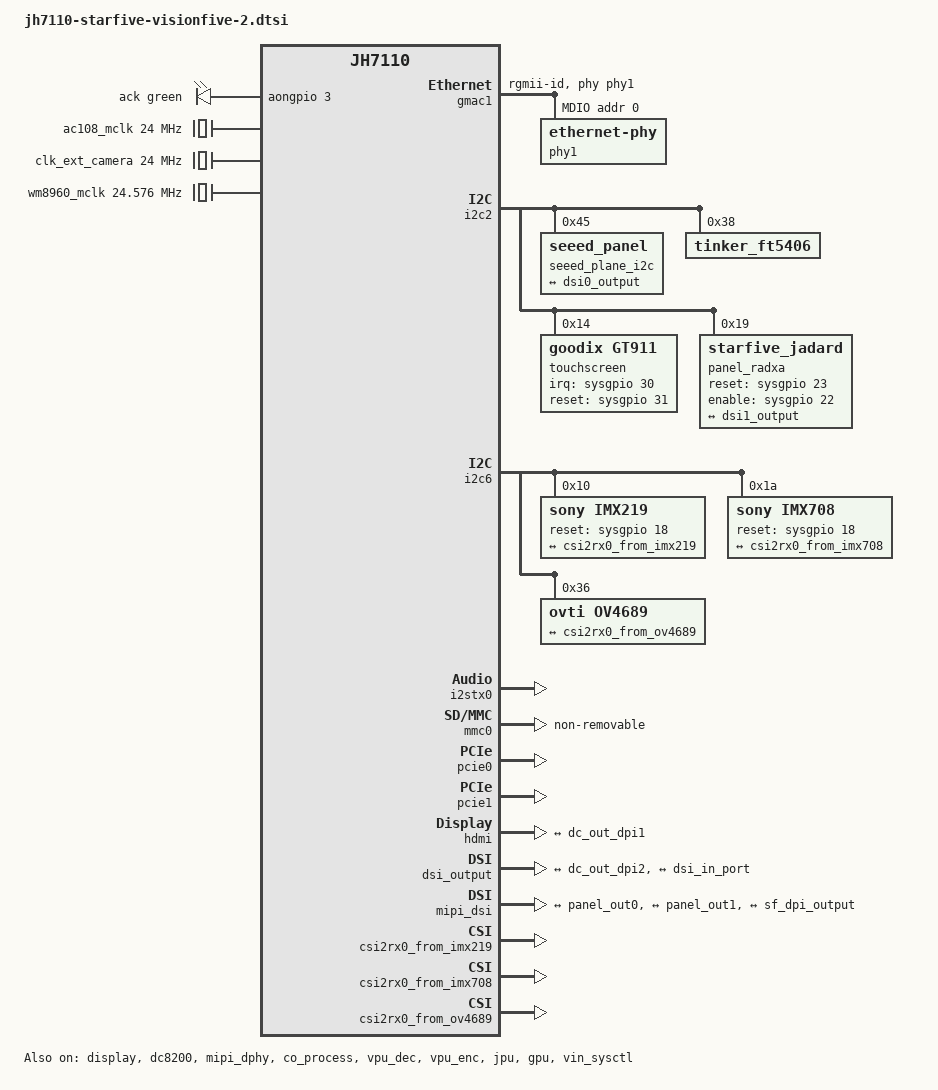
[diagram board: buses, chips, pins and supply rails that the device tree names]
// SPDX-License-Identifier: GPL-2.0 OR MIT
/*
 * Copyright (C) 2022 StarFive Technology Co., Ltd.
 * Copyright (C) 2022 Emil Renner Berthing <kernel@esmil.dk>
 */

/dts-v1/;
#include "jh7110-common.dtsi"
#include <dt-bindings/leds/common.h>

/ {
	aliases {
		ethernet1 = &gmac1;
	};

	reserved-memory {
		#address-cells = <2>;
		#size-cells = <2>;
		ranges;

		linux,cma {
			compatible = "shared-dma-pool";
			reusable;
			size = <0x0 0x20000000>;
			alignment = <0x0 0x1000>;
			alloc-ranges = <0x0 0x70000000 0x0 0x20000000>;
			linux,cma-default;
		};

		e24_mem: e24@c0000000 {
			reg = <0x0 0x6ce00000 0x0 0x1600000>;
		};

		xrp_reserved: xrpbuffer@f0000000 {
			reg = <0x0 0x69c00000 0x0 0x01ffffff
				0x0 0x6bc00000 0x0 0x00001000
				0x0 0x6bc01000 0x0 0x00fff000
				0x0 0x6cc00000 0x0 0x00001000>;
		};
	};

	leds {
		compatible = "gpio-leds";

		led-ack {
			gpios = <&aongpio 3 GPIO_ACTIVE_HIGH>;
			color = <LED_COLOR_ID_GREEN>;
			function = LED_FUNCTION_HEARTBEAT;
			linux,default-trigger = "heartbeat";
			label = "ack";
		};
	};

	sound1: snd-card1 {
		compatible = "simple-audio-card";
		#address-cells = <1>;
		#size-cells = <0>;

		simple-audio-card,name = "Starfive-HDMI-Sound-Card";
		simple-audio-card,dai-link@0 {
			reg = <0>;
			format = "i2s";
			bitclock-master = <&sndi2s0>;
			frame-master = <&sndi2s0>;
			mclk-fs = <256>;
			status = "okay";

			sndi2s0: cpu {
				sound-dai = <&i2stx0>;
			};

			codec {
				sound-dai = <&hdmi>;
			};
		};
	};

	ac108_mclk: ac108_mclk {
		compatible = "fixed-clock";
		#clock-cells = <0>;
		clock-frequency = <24000000>;
	};

	clk_ext_camera: clk-ext-camera {
		compatible = "fixed-clock";
		#clock-cells = <0>;
		clock-frequency = <24000000>;
	};

	wm8960_mclk: wm8960_mclk {
		compatible = "fixed-clock";
		#clock-cells = <0>;
		clock-frequency = <24576000>;
	};
};

&gmac1 {
	phy-handle = <&phy1>;
	phy-mode = "rgmii-id";
	status = "okay";

	mdio {
		#address-cells = <1>;
		#size-cells = <0>;
		compatible = "snps,dwmac-mdio";

		phy1: ethernet-phy@1 {
			reg = <0>;
		};
	};
};

&i2c2 {
	seeed_plane_i2c@45 {
		compatible = "seeed_panel";
		reg = <0x45>;

		clock = <27000>;  //
		hdisplay = /bits/ 16 <800>;
		hsync_start = /bits/ 16 <890>;  // 800 + 90
		hsync_end = /bits/ 16 <895>;  // 800 + 90 + 5
		htotal = /bits/ 16 <900>;  // 800 + 90 + 5 + 5
		vdisplay = /bits/ 16 <480>;
		vsync_start = /bits/ 16 <540>;  // 480 + 60
		vsync_end = /bits/ 16 <545>;  // 480 + 60 + 5
		vtotal = /bits/ 16 <550>;  // 480 + 60 + 5 + 5
		dsi_dlanes = /bits/ 16 <1>;
		dsi_bitrate =/bits/ 32 <660000000>;
		dsi_hsa = /bits/ 16 <120>;
		dsi_hbp = /bits/ 16 <118>;
		dsi_hfp = /bits/ 16 <112>;
		dsi_hact = /bits/ 16 <2400>;

		port {
			panel_out0: endpoint {
				remote-endpoint = <&dsi0_output>;
			};
		};
	};

	tinker_ft5406: tinker_ft5406@38 {
		compatible = "tinker_ft5406";
		reg = <0x38>;
	};

	touchscreen@14 {
		compatible = "goodix,gt911";
		reg = <0x14>;
		irq-gpios = <&sysgpio 30 GPIO_ACTIVE_HIGH>;
		reset-gpios = <&sysgpio 31 GPIO_ACTIVE_HIGH>;
	};

	panel_radxa@19 {
		compatible ="starfive_jadard";
		reg = <0x19>;
		reset-gpio = <&sysgpio 23 0>;
		enable-gpio = <&sysgpio 22 0>;

		port {
			panel_out1: endpoint {
				remote-endpoint = <&dsi1_output>;
			};
		};
	};
};

&i2c6 {
	imx219: imx219@10 {
		compatible = "sony,imx219";
		reg = <0x10>;
		clocks = <&clk_ext_camera>;
		clock-names = "xclk";
		reset-gpio = <&sysgpio 18 0>;
		rotation = <0>;
		orientation = <1>; //CAMERA_ORIENTATION_BACK

		port {
			/* CSI2 bus endpoint */
			imx219_to_csi2rx0: endpoint {
				remote-endpoint = <&csi2rx0_from_imx219>;
				bus-type = <4>;      /* MIPI CSI-2 D-PHY */
				clock-lanes = <4>;
				data-lanes = <0 1>;
				lane-polarities = <0 0 0>;
				link-frequencies = /bits/ 64 <456000000>;
			};
		};
	};

	imx708: imx708@1a {
		compatible = "sony,imx708";
		reg = <0x1a>;
		clocks = <&clk_ext_camera>;
		reset-gpio = <&sysgpio 18 0>;

		port {
			imx708_to_csi2rx0: endpoint {
				remote-endpoint = <&csi2rx0_from_imx708>;
				data-lanes = <1 2>;
				clock-noncontinuous;
				link-frequencies = /bits/ 64 <450000000>;
			};
		};
	};

	ov4689: ov4689@36 {
		compatible = "ovti,ov4689";
		reg = <0x36>;
		clocks = <&clk_ext_camera>;
		clock-names = "xclk";
		rotation = <180>;

		port {
			/* Parallel bus endpoint */
			ov4689_to_csi2rx0: endpoint {
				remote-endpoint = <&csi2rx0_from_ov4689>;
				bus-type = <4>;		/* MIPI CSI-2 D-PHY */
				clock-lanes = <0>;
				data-lanes = <1 2>;
			};
		};
	};
};

&i2srx {
	pinctrl-names = "default";
	pinctrl-0 = <&i2s_clk_pins &i2srx_pins>;
	status = "disabled"; 
};


&i2stx0 {
	pinctrl-names = "default";
	pinctrl-0 = <&mclk_ext_pins>;
	status = "okay";
};

&i2stx1 {
	pinctrl-names = "default";
	pinctrl-0 = <&i2stx1_pins>;
	status = "disabled";
};

&mmc0 {
	non-removable;
};

&pcie0 {
	status = "okay";
};

&pcie1 {
	status = "okay";
};

&sysgpio {
	hdmi_pins: hdmi-0 {
		scl-pins {
			pinmux = <GPIOMUX(0, GPOUT_SYS_HDMI_DDC_SCL,
					     GPOEN_SYS_HDMI_DDC_SCL,
					     GPI_SYS_HDMI_DDC_SCL)>;
			bias-pull-up;
			input-enable;
		};

		sda-pins {
			pinmux = <GPIOMUX(1, GPOUT_SYS_HDMI_DDC_SDA,
					     GPOEN_SYS_HDMI_DDC_SDA,
					     GPI_SYS_HDMI_DDC_SDA)>;
			bias-pull-up;
			input-enable;
		};

		cec-pins {
			pinmux = <GPIOMUX(14, GPOUT_SYS_HDMI_CEC_SDA,
					      GPOEN_SYS_HDMI_CEC_SDA,
					      GPI_SYS_HDMI_CEC_SDA)>;
			bias-pull-up;
			input-enable;
		};

		hpd-pins {
			pinmux = <GPIOMUX(15, GPOUT_LOW,
					      GPOEN_DISABLE,
					      GPI_SYS_HDMI_HPD)>;
			bias-disable; /* external pull-up */
			input-enable;
		};
	};

	i2srx_pins: i2srx-0 {
		clk-sd-pins {
			pinmux = <GPIOMUX(38, GPOUT_LOW,
					      GPOEN_DISABLE,
					      GPI_SYS_I2SRX_BCLK)>,
				 <GPIOMUX(63, GPOUT_LOW,
					      GPOEN_DISABLE,
					      GPI_SYS_I2SRX_LRCK)>,
				 <GPIOMUX(38, GPOUT_LOW,
					      GPOEN_DISABLE,
					      GPI_SYS_I2STX1_BCLK)>,
				 <GPIOMUX(63, GPOUT_LOW,
					      GPOEN_DISABLE,
					      GPI_SYS_I2STX1_LRCK)>,
				 <GPIOMUX(61, GPOUT_LOW,
					      GPOEN_DISABLE,
					      GPI_SYS_I2SRX_SDIN0)>;
			input-enable;
		};
	};

        i2s_clk_pins: i2s-clk-0 {
                bclk-lrck-pins {
                        pinmux = <GPIOMUX(38, GPOUT_LOW,
                                              GPOEN_DISABLE,
                                              GPI_SYS_I2STX1_BCLK)>,
                                 <GPIOMUX(38, GPOUT_LOW,
                                              GPOEN_DISABLE,
                                              GPI_SYS_I2SRX_BCLK)>,
                                 <GPIOMUX(63, GPOUT_LOW,
                                              GPOEN_DISABLE,
                                              GPI_SYS_I2STX1_LRCK)>,
                                 <GPIOMUX(63, GPOUT_LOW,
                                              GPOEN_DISABLE,
                                              GPI_SYS_I2SRX_LRCK)>;
                        input-enable;
                };
        };

	i2stx1_pins: i2stx1-0 {
		sd-pins {
			pinmux = <GPIOMUX(44, GPOUT_SYS_I2STX1_SDO0,
					      GPOEN_ENABLE,
					      GPI_NONE)>;
			bias-disable;
			input-disable;
		};
	};

	mclk_ext_pins: mclk-ext-0 {
		mclk-ext-pins {
			pinmux = <GPIOMUX(4, GPOUT_LOW,
					     GPOEN_DISABLE,
					     GPI_SYS_MCLK_EXT)>;
			input-enable;
		};
	};

	tdm_pins: tdm-0 {
		tx-pins {
			pinmux = <GPIOMUX(44, GPOUT_SYS_TDM_TXD,
					      GPOEN_ENABLE,
					      GPI_NONE)>;
			bias-pull-up;
			drive-strength = <2>;
			input-disable;
			input-schmitt-disable;
			slew-rate = <0>;
		};

		rx-pins {
			pinmux = <GPIOMUX(61, GPOUT_HIGH,
					      GPOEN_DISABLE,
					      GPI_SYS_TDM_RXD)>;
			input-enable;
		};

		sync-pins {
			pinmux = <GPIOMUX(63, GPOUT_HIGH,
					      GPOEN_DISABLE,
					      GPI_SYS_TDM_SYNC)>;
			input-enable;
		};

		pcmclk-pins {
			pinmux = <GPIOMUX(38, GPOUT_HIGH,
					      GPOEN_DISABLE,
					      GPI_SYS_TDM_CLK)>;
			input-enable;
		};
	};
};

&tdm {
	pinctrl-names = "default";
	pinctrl-0 = <&tdm_pins>;
	status = "disabled";
};

&display {
	ports = <&dc_out_dpi0>;
	status = "okay";
};

&dc8200 {
	status = "okay";

	dc_out: port {
		#address-cells = <1>;
		#size-cells = <0>;
		dc_out_dpi0: endpoint@0 {
			reg = <0>;
			remote-endpoint = <&hdmi_input0>;
		};
		dc_out_dpi1: endpoint@1 {
			reg = <1>;
			remote-endpoint = <&hdmi_in_lcdc>;
		};

		dc_out_dpi2: endpoint@2 {
			reg = <2>;
			remote-endpoint = <&mipi_in>;
		};
	};
};

&hdmi {
	status = "okay";
	pinctrl-names = "default";
	pinctrl-0 = <&hdmi_pins>;
	hpd-gpio = <&sysgpio 15 GPIO_ACTIVE_HIGH>;
	hdmi_0p9-supply = <&hdmi_0p9>;
	hdmi_1p8-supply = <&hdmi_1p8>;

	hdmi_in: port {
		#address-cells = <1>;
		#size-cells = <0>;
		hdmi_in_lcdc: endpoint@0 {
			reg = <0>;
			remote-endpoint = <&dc_out_dpi1>;
		};
	};
};

&rgb_output {
	status = "disabled";

	ports {
		#address-cells = <1>;
		#size-cells = <0>;
		port@0 {
			#address-cells = <1>;
			#size-cells = <0>;
			reg = <0>;
			hdmi_input0:endpoint@0 {
				reg = <0>;
				remote-endpoint = <&dc_out_dpi0>;
			};
		};
	};
};

&dsi_output {
	status = "okay";

	ports {
		#address-cells = <1>;
		#size-cells = <0>;

		port@0 {
			reg = <0>;
			mipi_in: endpoint {
				remote-endpoint = <&dc_out_dpi2>;
			};
		};

		port@1 {
			reg = <1>;
			sf_dpi_output: endpoint {
				remote-endpoint = <&dsi_in_port>;
			};
		};
	};
};

&mipi_dsi {
	status = "okay";

	ports {
		#address-cells = <1>;
		#size-cells = <0>;

		port@0 {
			reg = <0>;
			#address-cells = <1>;
			#size-cells = <0>;

			dsi0_output: endpoint@0 {
				reg = <0>;
				remote-endpoint = <&panel_out0>;
			};

			dsi1_output: endpoint@1 {
				reg = <1>;
				remote-endpoint = <&panel_out1>;
			};

		};

		port@1{
			reg = <1>;
			dsi_in_port: endpoint {
				remote-endpoint = <&sf_dpi_output>;
			};
		};

	};
};

&mipi_dphy {
	status = "okay";
};

&co_process {
	memory-region = <&e24_mem>;
	status = "okay";
};

&mailbox_contrl0 {
	status = "okay";
};

&mailbox_client0 {
	status = "okay";
};

&vpu_dec {
	status = "okay";
};

&vpu_enc {
	status = "okay";
};

&jpu {
	status = "okay";
};

&gpu {
	status = "okay";
};

&vin_sysctl {
	/* when use dvp open this pinctrl*/
	status = "okay";
	mipi_0p9-supply = <&mipi_0p9>;

	ports {
		#address-cells = <1>;
		#size-cells = <0>;

		port@1 {
			reg = <1>;
			#address-cells = <1>;
			#size-cells = <0>;

			/* CSI2 bus endpoint */
			csi2rx0_from_imx219: endpoint@0 {
				reg = <0>;
				remote-endpoint = <&imx219_to_csi2rx0>;
				bus-type = <4>;      /* MIPI CSI-2 D-PHY */
				clock-lanes = <4>;
				data-lanes = <0 1>;
				lane-polarities = <0 0 0>;
				status = "okay";
			};

			csi2rx0_from_imx708: endpoint@1 {
				reg = <1>;
				remote-endpoint = <&imx708_to_csi2rx0>;
				bus-type = <4>;      /* MIPI CSI-2 D-PHY */
				clock-lanes = <4>;
				data-lanes = <0 1>;
				lane-polarities = <0 0 0>;
				status = "okay";
			};

			csi2rx0_from_ov4689: endpoint@2 {
				reg = <2>;
				remote-endpoint = <&ov4689_to_csi2rx0>;
				bus-type = <4>;      /* MIPI CSI-2 D-PHY */
				clock-lanes = <4>;
				data-lanes = <0 1>;
				status = "okay";
			};
		};
	};
};
